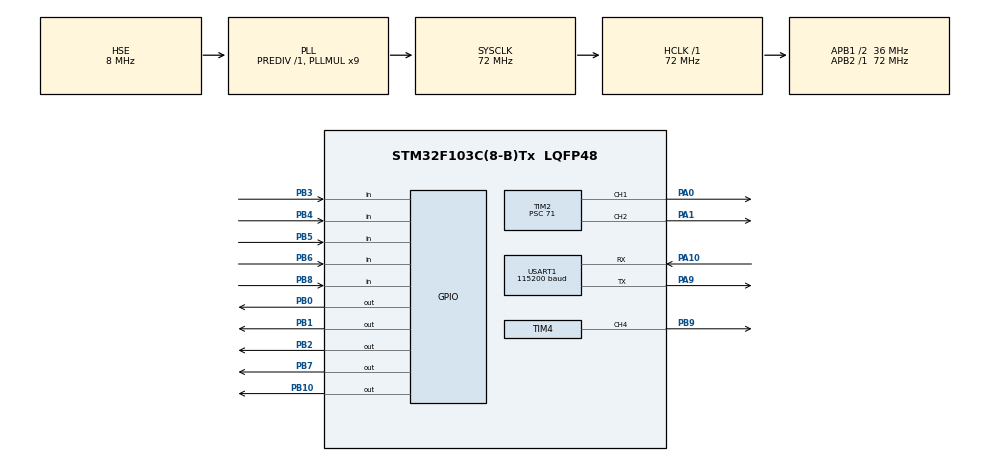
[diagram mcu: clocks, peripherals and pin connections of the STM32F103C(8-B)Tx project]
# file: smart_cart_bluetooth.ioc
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Mcu.Family=STM32F1
Mcu.Name=STM32F103C(8-B)Tx
Mcu.Package=LQFP48
NVIC.PriorityGroup=NVIC_PRIORITYGROUP_4
NVIC.USART1_IRQn=true\:1\:0\:true\:false\:true\:true\:true\:true
PA0-WKUP.Signal=S_TIM2_CH1_ETR
PA1.Signal=S_TIM2_CH2
PA10.Mode=Asynchronous
PA10.Signal=USART1_RX
PA13.Mode=Serial_Wire
PA13.Signal=SYS_JTMS-SWDIO
PA14.Mode=Serial_Wire
PA14.Signal=SYS_JTCK-SWCLK
PA9.Mode=Asynchronous
PA9.Signal=USART1_TX
PB0.Signal=GPIO_Output
PB1.Signal=GPIO_Output
PB10.Signal=GPIO_Output
PB2.Signal=GPIO_Output
PB3.Signal=GPIO_Input
PB4.Signal=GPIO_Input
PB5.Signal=GPIO_Input
PB6.Signal=GPIO_Input
PB7.Signal=GPIO_Output
PB8.Signal=GPIO_Input
PB9.Signal=S_TIM4_CH4
PD0-OSC_IN.Mode=HSE-External-Oscillator
PD0-OSC_IN.Signal=RCC_OSC_IN
PD1-OSC_OUT.Mode=HSE-External-Oscillator
PD1-OSC_OUT.Signal=RCC_OSC_OUT
ProjectManager.HeapSize=0x200
ProjectManager.StackSize=0x400
ProjectManager.TargetToolchain=MDK-ARM V5.32
RCC.AHBFreq_Value=72000000
RCC.APB1CLKDivider=RCC_HCLK_DIV2
RCC.APB1Freq_Value=36000000
RCC.APB1TimFreq_Value=72000000
RCC.APB2Freq_Value=72000000
RCC.APB2TimFreq_Value=72000000
RCC.HCLKFreq_Value=72000000
RCC.PLLMUL=RCC_PLL_MUL9
RCC.PLLSourceVirtual=RCC_PLLSOURCE_HSE
RCC.SYSCLKFreq_VALUE=72000000
RCC.SYSCLKSource=RCC_SYSCLKSOURCE_PLLCLK
RCC.USBFreq_Value=72000000
SH.S_TIM2_CH1_ETR.0=TIM2_CH1,PWM Generation1 CH1
SH.S_TIM2_CH2.0=TIM2_CH2,PWM Generation2 CH2
SH.S_TIM4_CH4.0=TIM4_CH4,PWM Generation4 CH4
TIM1.AutoReloadPreload=TIM_AUTORELOAD_PRELOAD_ENABLE
TIM1.Prescaler=71
TIM1.RepetitionCounter=0
TIM2.AutoReloadPreload=TIM_AUTORELOAD_PRELOAD_ENABLE
TIM2.Channel-PWM\ Generation1\ CH1=TIM_CHANNEL_1
TIM2.Channel-PWM\ Generation2\ CH2=TIM_CHANNEL_2
TIM2.OCPolarity_1=TIM_OCPOLARITY_HIGH
TIM2.OCPolarity_2=TIM_OCPOLARITY_HIGH
TIM2.Period=19
TIM2.Prescaler=71
TIM4.AutoReloadPreload=TIM_AUTORELOAD_PRELOAD_ENABLE
TIM4.Channel-PWM\ Generation4\ CH4=TIM_CHANNEL_4
TIM4.Period=199
TIM4.Prescaler=7199
USART1.BaudRate=115200
USART1.VirtualMode=VM_ASYNC
VP_TIM1_VS_ClockSourceINT.Mode=Internal
VP_TIM2_VS_ClockSourceINT.Mode=Internal
VP_TIM3_VS_ClockSourceINT.Mode=Internal
VP_TIM4_VS_ClockSourceINT.Mode=Internal
board=custom

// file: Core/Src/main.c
/* USER CODE BEGIN Header */
/**
  ******************************************************************************
  * @file           : main.c
  * @brief          : Main program body
  ******************************************************************************
  * @attention
  *
  * Copyright (c) 2023 STMicroelectronics.
  * All rights reserved.
  *
  * This software is licensed under terms that can be found in the LICENSE file
  * in the root directory of this software component.
  * If no LICENSE file comes with this software, it is provided AS-IS.
  *
  ******************************************************************************
  */
/* USER CODE END Header */
#include "main.h"
#include "tim.h"
#include "usart.h"
#include "gpio.h"

/* USER CODE BEGIN Includes */
#include "car_function.h"
#include "motor.h"
#include "stdio.h"
#include "sensor.h"
#include "sg90.h"
#include "sr04.h"
#include "su03.h"

/* USER CODE END Includes */

/* USER CODE BEGIN PM */
#define MIDDLE 0
#define LEFT 1
#define RIGHT 2
/* USER CODE END PM */

void SystemClock_Config(void);
/* USER CODE BEGIN PFP */
int fputc(int ch, FILE *file) {
	unsigned char temp[1] = {ch};
	HAL_UART_Transmit(&huart1, temp, 1, 0xfff);
	return ch;
}
/* USER CODE END PFP */

int main(void)
{

  /* MCU Configuration--------------------------------------------------------*/

  /* Reset of all peripherals, Initializes the Flash interface and the Systick. */
  HAL_Init();

  /* Configure the system clock */
  SystemClock_Config();

  /* Initialize all configured peripherals */
  MX_GPIO_Init();
  MX_USART1_UART_Init();
  MX_TIM2_Init();
  MX_TIM4_Init();
  MX_TIM1_Init();
  MX_TIM3_Init();
  /* USER CODE BEGIN 2 */
	HAL_UART_Receive_IT(&huart1, &buf, 1);
	sg90_init();
	HAL_Delay(200);

	//��ǰ��
	turn_90_degree();
	stop();
  /* USER CODE END 2 */

  /* Infinite loop */
  while (1)
  {

    /* USER CODE BEGIN 3 */

		switch(runMode) {
			case tracingMode:
				traceing();
				break;
			case followMode:
				follow();
				break;
			case avoidMode:
				avoid();
				break;
			case stopMode:
				break;
		}
  }
  /* USER CODE END 3 */
}

void SystemClock_Config(void)
{
  RCC_OscInitTypeDef RCC_OscInitStruct = {0};
  RCC_ClkInitTypeDef RCC_ClkInitStruct = {0};

  /** Initializes the RCC Oscillators according to the specified parameters
  * in the RCC_OscInitTypeDef structure.
  */
  RCC_OscInitStruct.OscillatorType = RCC_OSCILLATORTYPE_HSE;
  RCC_OscInitStruct.HSEState = RCC_HSE_ON;
  RCC_OscInitStruct.HSEPredivValue = RCC_HSE_PREDIV_DIV1;
  RCC_OscInitStruct.HSIState = RCC_HSI_ON;
  RCC_OscInitStruct.PLL.PLLState = RCC_PLL_ON;
  RCC_OscInitStruct.PLL.PLLSource = RCC_PLLSOURCE_HSE;
  RCC_OscInitStruct.PLL.PLLMUL = RCC_PLL_MUL9;
  if (HAL_RCC_OscConfig(&RCC_OscInitStruct) != HAL_OK)
  {
    Error_Handler();
  }

  /** Initializes the CPU, AHB and APB buses clocks
  */
  RCC_ClkInitStruct.ClockType = RCC_CLOCKTYPE_HCLK|RCC_CLOCKTYPE_SYSCLK
                              |RCC_CLOCKTYPE_PCLK1|RCC_CLOCKTYPE_PCLK2;
  RCC_ClkInitStruct.SYSCLKSource = RCC_SYSCLKSOURCE_PLLCLK;
  RCC_ClkInitStruct.AHBCLKDivider = RCC_SYSCLK_DIV1;
  RCC_ClkInitStruct.APB1CLKDivider = RCC_HCLK_DIV2;
  RCC_ClkInitStruct.APB2CLKDivider = RCC_HCLK_DIV1;

  if (HAL_RCC_ClockConfig(&RCC_ClkInitStruct, FLASH_LATENCY_2) != HAL_OK)
  {
    Error_Handler();
  }
}

void Error_Handler(void)
{
  __disable_irq();
  while (1)
  {
  }
}
